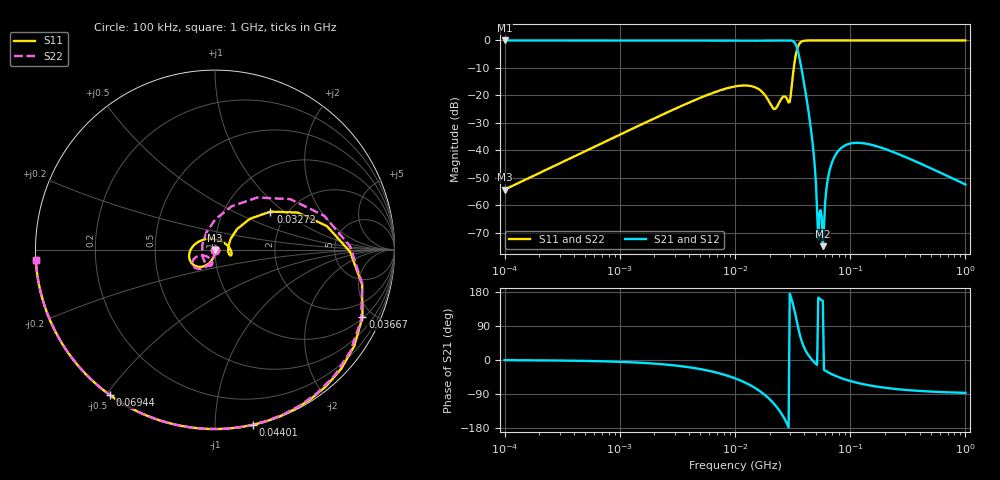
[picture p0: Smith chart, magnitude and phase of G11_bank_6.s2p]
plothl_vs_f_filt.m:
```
#!/usr/bin/octave -q

pkg load signal

# filter bank : f_max, filter_type, order, cutoff_freq [, [stopband_attenuation] [passband ripple]]
#   f_max : the LPF will be used up to this frequency
#   filter_type : 'Butterworth', 'ChebyshevII', 'file' (can be .s2p) 
#   order : filter order
#   cutoff_freq : frequency where the filter response is 3 dB down
#   stopband_attenuation : ChebyshevII only, minimun stopband attenuation
#   passband_ripple : ChebyshevI only, passband ripple
# filters need to be in ascending f_max order
#filters = {
#  {2.5e6, 'Butterworth', 5, 3e6} # 160 m
#  {4.5e6, 'Butterworth', 5, 5.5e6} # 80 m
#  {10e6, 'ChebyshevI', 5, 11e6, 0.5} # 40 m / 60 m
#  {17e6, 'Butterworth', 5, 20e6} # 20 m / 30 m
#  {24e6, 'ChebyshevI', 5, 30e6, 0.5} # 15 m / 17 m
#  {31e6, 'ChebyshevII', 5, 37e6, 20} # 10 m / 12 m
#};

# bank similar to G11 TX LPFs but using ChebyshevII filters
#filters = {
#  {2.5e6, 'ChebyshevII', 5, 2.65e6, 45}
#  {4.7e6, 'ChebyshevII', 5, 5.1e6, 45}
#  {8e6, 'ChebyshevII', 5, 8.8e6, 45}
#  {12e6, 'ChebyshevII', 5, 13.5e6, 45}
#  {19e6, 'ChebyshevII', 5, 22.3e6, 45}
#  {34e6, 'ChebyshevII', 5, 34.5e6, 45}
#};

# bank similar to G11 TX LPFs
filters = {
  {2.5e6, 'Cauer', 5, 2.65e6, 0.1, 45}
  {4.7e6, 'Cauer', 5, 5.1e6, 0.1, 45}
  {8e6, 'Cauer', 5, 8.8e6, 0.1, 45}
  {12e6, 'Cauer', 5, 13.5e6, 0.1, 45}
  {19e6, 'Cauer', 5, 22.3e6, 0.1, 45}
  {34e6, 'Cauer', 5, 34.5e6, 0.1, 45}
};

# G11 TX LPFs bank - simulated filters response
#filters = {
#  {2.5e6, 'file', 'G11_bank_1.txt'}
#  {4.7e6, 'file', 'G11_bank_2.txt'}
#  {8e6, 'file', 'G11_bank_3.txt'}
#  {12e6, 'file', 'G11_bank_4.txt'}
#  {19e6, 'file', 'G11_bank_5.txt'}
#  {34e6, 'file', 'G11_bank_6.s2p'}
#};

# sampling frequency (used to compute spurs location)
global fs = 79.872e6;

# define the HF bands limits - used for annotating the graphs
function plot_HF_bands(Ypos)
  HF_bands = {
    {'160 m', 1.8, 2.0};
    {'80 m', 3.5, 4.0};
    {'60 m', 5.3305, 5.4035};
    {'40 m', 7.0, 7.3};
    {'30 m', 10.1, 10.15};
    {'20 m', 14.0, 14.35};
    {'17 m', 18.068, 18.168};
    {'15 m', 21.0, 21.45};
    {'12 m', 24.89, 24.99};
    {'10 m', 28.0, 29.7}
  };
  hold on;
  for bidx = 1:length(HF_bands)
    bdata = HF_bands{bidx};
    bname = bdata{1};
    bstart = bdata{2}*1e6; # in Hz
    bstop = bdata{3}*1e6; # in Hz
    plot([bstart, bstop], [Ypos, Ypos], 'g', 'LineWidth',4);
    text(0.5*(bstart+bstop), Ypos, [' ' bname], 'horizontalalignment', 'left', 'verticalalignment', 'middle', 'fontsize', 8, 'rotation', 90);
  endfor
  hold off;
endfunction

# draw a limit line at 'level' dB on a graph
function draw_limit_line(level)
  hold on;
  plot(xlim(), [level, level], 'r', 'LineWidth',3);
  hold off;
endfunction

##########
# apply a Butterworth filter
function out = filt_Butterworth(in, frqs, n, f0)
  # ideal Butterworth filter
  # n : order
  # f0 : cutoff frequency
  Amax = 50; # maximum final attenuation
  [b, a] = butter (n, f0 ,'s');
  G_dB = 20*log10(abs(freqs(b, a, frqs)));
  G_dB = merge(G_dB < -Amax, -Amax, G_dB);
  out = in + G_dB;
endfunction

##########
# apply a type I (equiripple in the passband) Chebyshev filter
function out = filt_ChebyshevI(in, frqs, n, f0, rp)
  # ideal (type I) Chebyshev filter
  # n : order
  # f0 : cutoff frequency
  # rp : passband ripple
  
  Amax = 50; # maximum final attenuation  
  
  # compute epsilon from the passband ripple
  ep = sqrt(10^(rp/10)-1);
  # compute the the ripple cutoff frequency from the 3 dB cutoff frequency
  f0 = f0 / cosh(acosh(1/ep)/n);    
  [b, a] = cheby1(n, rp, f0, 's');
  
  G_dB = 20*log10(abs(freqs(b, a, frqs)));
  G_dB = merge(G_dB < -Amax, -Amax, G_dB);
  out = in + G_dB;
endfunction

##########
# apply a type II (equiripple in the stopband) Chebyshev filter
function out = filt_ChebyshevII(in, frqs, n, f0, Rs)
  # ideal inverse (type II) Chebyshev filter
  # n : order
  # f0 : cutoff frequency
  # Rs : stopband attenuation
  
  Amax = 50; # maximum final attenuation  
  # compute epsilon from the stopband attenuation
  es = 1 / sqrt(10^(Rs/10)-1);
  # compute the the stopband cutoff frequency from the 3 dB cutoff frequency
  f0 = f0 * cosh(acosh(1/es)/n);
  [b, a] = cheby2(n, Rs, f0, 's');
  
  G_dB = 20*log10(abs(freqs(b, a, frqs)));
  G_dB = merge(G_dB < -Amax, -Amax, G_dB);
  out = in + G_dB;
endfunction

##########
# Cauer filter helper functions
function val = ellipFint(phipsi, m)
  # incomplete elliptic integral of the first kind
  #   computed by integration
  # phi : amplitude (can be complex)
  # m : the parameter (= k^2)
  f = @(x) 1./sqrt(1-m*sin(x).^2);
  val = quadgk(f, 0, phipsi, "Waypoints", asin(1/sqrt(m)));
endfunction

function val = sn(u, m)
  # Jacobian elliptic sine
  [val, cn, dn, err] = ellipj (u, m);
endfunction

function val = KoverKp(k)
  # k : elliptic modulus (= sqrt(m))
  # approximation of K(k)/K'(k)
  if (k < 1/sqrt(2))
    kp = sqrt (1 - k * k);
    val = 2 * pi / (log(2) + acosh(((1 + sqrt(kp))/(1 - sqrt(kp)))^2));
  else
    val = (log(2) + acosh(((1 + sqrt(k))/(1 - sqrt(k)))^2)) / (2 * pi);
  endif
 endfunction
 
function ws = ws(n, rp, Rs, wp)
   # compute ws so that (X2/X'2 = N X1 / X'1)
   # compute epsilon from the passband ripple
   ep = sqrt(10^(rp/10)-1);
   # compute epsilon from the stopband attenuation
   es = 1 / sqrt(10^(Rs/10)-1);
   
   rhs = n * KoverKp(ep * es);
   [ws, fval, info, output] = fzero(@(x) KoverKp(wp / x) - rhs, [wp*(1+eps), 10*wp]);
 endfunction
 
function wc = wc(n, rp, Rs, wp)
   # compute epsilon from the passband ripple
   ep = sqrt(10^(rp/10)-1);
   # compute epsilon from the stopband attenuation
   es = 1 / sqrt(10^(Rs/10)-1);
   
   X1 = ellipke((ep*es)^2);
   ws = ws(n, rp, Rs, wp);
   X2 = ellipke((wp / ws)^2);
   
   sni = ellipFint(asin(1 / ep), (ep*es)^2);
   q = rem(n+1, 2);
   wc = wp * sn(X2 + j*imag(X2 *(sni-q*X1) / (n*X1)), (wp / ws)^2);
   wc = real(wc);
 endfunction

# apply a Cauer (elliptic) filter
function out = filt_Cauer(in, frqs, n, f0, rp, Rs)
  # ideal Cauer filter
  # n : order
  # f0 : cutoff frequency
  # rp : passband ripple
  # Rs : stopband attenuation
  
  Amax = 50; # maximum final attenuation  
  
  # compute the ripple cutoff frequency from the 3 dB cutoff frequency
  wcc = wc(n, rp, Rs, 1);
  f0 = f0 / wcc;
  [b, a] = ellip (n, rp, Rs, f0, 's');
  
  G_dB = 20*log10(abs(freqs(b, a, frqs)));
  G_dB = merge(G_dB < -Amax, -Amax, G_dB);
  out = in + G_dB;
endfunction


# apply a filter function from file
#   if file ends in .s2p it's read as a Touchstone file
#   (only S21 will be used)
#   otherwise it is assumed to contain two data columns
#   containg the frequency and the filter response in dB
function out = filt_file(in, freqs, fname)
  Amax = 50; # maximum final attenuation  
  [dir, name, fext] = fileparts(fname);
  if strcmp(fext, '.s2p')
   [ff, fr] = SXPParse(fname, '/dev/null'); # suppress output text
   ff = ff';
   fr = squeeze(fr(2,1,:)); # extract S21
   fr = 20 *log10(abs(fr)); # in dB
  else
    fdata = load(fname);
    ff = fdata(:,1);
    fr = fdata(:,2);
  endif
  
  G_dB = interp1 (ff, fr, freqs, 'spline');
  G_dB = merge(G_dB < -Amax, -Amax, G_dB);
  out = in + G_dB;
endfunction

# filter the TX spectrum using the provided filter bank
#  (should be optimized, as filters are created anew for every filtering operation and not reused)
function ftxdata = LPF(txdata, filters)
  global fs;
  idxmin = 1;
  for fidx = 1:length(filters)
    idxmax = lookup(txdata(:,1), filters{fidx}{1});
  
    switch (filters{fidx}{2})
      case "Butterworth"
        BW = @(in, f) filt_Butterworth(in, f, filters{fidx}{3}, filters{fidx}{4});
      case "ChebyshevI"
        BW = @(in, f) filt_ChebyshevI(in, f, filters{fidx}{3}, filters{fidx}{4}, filters{fidx}{5});
      case "ChebyshevII"
        BW = @(in, f) filt_ChebyshevII(in, f, filters{fidx}{3}, filters{fidx}{4}, filters{fidx}{5});
      case "Cauer"
        BW = @(in, f) filt_Cauer(in, f, filters{fidx}{3}, filters{fidx}{4}, filters{fidx}{5}, filters{fidx}{6});
      case "file"
        BW = @(in, f) filt_file(in, f, filters{fidx}{3});
    endswitch
  
    ftxdata(idxmin:idxmax,1) = txdata(idxmin:idxmax,1); # TX frequency
    frqs = txdata(idxmin:idxmax,1); # TX frequency
    ftxdata(idxmin:idxmax,2) = BW(txdata(idxmin:idxmax,2), frqs);
    ftxdata(idxmin:idxmax,3) = BW(txdata(idxmin:idxmax,3), 2*frqs);
    ftxdata(idxmin:idxmax,4) = BW(txdata(idxmin:idxmax,4), 3*frqs);
    ftxdata(idxmin:idxmax,5) = BW(txdata(idxmin:idxmax,5), 4*frqs);
    ftxdata(idxmin:idxmax,6) = BW(txdata(idxmin:idxmax,6), 5*frqs);

    ftxdata(idxmin:idxmax,7) = BW(txdata(idxmin:idxmax,7), fs-frqs);
    ftxdata(idxmin:idxmax,8) = BW(txdata(idxmin:idxmax,8), fs+frqs);

    ftxdata(idxmin:idxmax,9) = BW(txdata(idxmin:idxmax,9), 2*fs-5*frqs);
    ftxdata(idxmin:idxmax,10) = BW(txdata(idxmin:idxmax,10), 2*fs-4*frqs);
    ftxdata(idxmin:idxmax,11) = BW(txdata(idxmin:idxmax,11), 2*fs-3*frqs);
    ftxdata(idxmin:idxmax,12) = BW(txdata(idxmin:idxmax,12), 2*fs-2*frqs);
    ftxdata(idxmin:idxmax,13) = BW(txdata(idxmin:idxmax,13), 2*fs-frqs);

    ftxdata(idxmin:idxmax,14) = BW(txdata(idxmin:idxmax,14), 2*fs);

    ftxdata(idxmin:idxmax,15) = BW(txdata(idxmin:idxmax,9), 2*fs+frqs);
    ftxdata(idxmin:idxmax,16) = BW(txdata(idxmin:idxmax,10), 2*fs+2*frqs);
    ftxdata(idxmin:idxmax,17) = BW(txdata(idxmin:idxmax,11), 2*fs+3*frqs);
    ftxdata(idxmin:idxmax,18) = BW(txdata(idxmin:idxmax,12), 2*fs+4*frqs);
    ftxdata(idxmin:idxmax,19) = BW(txdata(idxmin:idxmax,13), 2*fs+5*frqs);
    idxmin = idxmax + 1;
  endfor
endfunction

########################################

graphics_toolkit("gnuplot")

# output graphs basename
datafile = argv(){1};
[pathstr, fbasename, ext] = fileparts(datafile);

# load curve with Pout around 37 dBm (5W)
txdata = load(datafile);
# data format is:
#   spot_level
#   f_{tx}, 2*f_{tx}, 3*f_{tx}, 4*f_{tx}, 5*f_{tx},
#   f_s-f_{tx}, f_s+f_{tx},
#   2*f_s-5*f_{tx}, 2*f_s-4*f_{tx}, 2*f_s-3*f_{tx}, 2*f_s-2*f_{tx}, 2*f_s-f_{tx},
#   2*f_s,
#   2*f_s+f_{tx}, 2*f_s+2*f_{tx}, 2*f_s+3*f_{tx}, 2*f_s+4*f_{tx}, 2*f_s+5*f_{tx}]

# apply LPF bank to the TX signal
ftxdata = LPF(txdata, filters);
frqs = txdata(:,1); # TX frequency

fidx = 1; # figures index

# plot relative output power values (dBc) with limit line
figure(fidx++)
plot(frqs, ftxdata(:,3:6)-ftxdata(:,2));
draw_limit_line(-50);
yr = ylim();
plot_HF_bands(yr(1)+0.02*(yr(2)-yr(1))); # place band markers slightly above x axis
grid on;
#ylim([-70 -30]);
xlim([0 31e6]);
#set(gca, 'ytick', [-90:10:10]);
xlabel("TX frequency, Hz");
ylabel('Pout, dBc');
legend('2f_{tx}', '3f_{tx}', '4f_{tx}', '5f_{tx}', 'location', 'southwest');
legend("boxoff");
legend ("location", "northeast")
title('Harmonics');
print([fbasename '_harmonics_vs_frequency_LPF_dBc.png'], '-dpng', '-F:12');

# plot fundamental output power (dBm)
figure(fidx++)
plot(frqs, ftxdata(:,2), 'b;after LPF bank;'); # filtered output
hold on;
plot(frqs, txdata(:,2), 'r--;PA output;'); # unfiltered output
yr = ylim();
plot_HF_bands(yr(1)+0.02*(yr(2)-yr(1))); # place band markers slightly above x axis
grid on;
#ylim([-90 15]);
xlim([0 31e6]);
#set(gca, 'ytick', [-90:10:10]); 
xlabel("TX frequency, Hz");
ylabel('Pout, dBm');
legend('location', 'northwest');
legend("boxoff");
title('Fundamental output power');
print([fbasename '_fundamental_vs_frequency_LPF.png'], '-dpng', '-F:12');

##########
# plot absolute output power values (dBm)
figure(fidx++)
plot(frqs, ftxdata(:,2:6));
yr = ylim();
plot_HF_bands(yr(1)+0.02*(yr(2)-yr(1))); # place band markers slightly above x axis
grid on;
#ylim([-90 15]);
xlim([0 31e6]);
#set(gca, 'ytick', [-90:10:10]); 
xlabel("TX frequency, Hz");
ylabel('Pout, dBm');
legend('f_{tx}', '2f_{tx}', '3f_{tx}', '4f_{tx}', '5f_{tx}', 'location', 'northwest');
legend("boxoff");
title('Harmonics after LPF');
#print([fbasename '_harmonics_vs_frequency.png'], '-dpng', '-F:12');

figure(fidx++)
plot(frqs, ftxdata(:,7:8));
yr = ylim();
plot_HF_bands(yr(1)+0.02*(yr(2)-yr(1))); # place band markers slightly above x axis
grid on;
#ylim([-90 15]);
xlim([0 31e6]);
#set(gca, 'ytick', [-90:10:10]); 
xlabel("TX frequency, Hz");
ylabel('Pout, dBm');
legend('f_s-f_{tx}', 'f_s+f_{tx}', 'location', 'northwest');
legend("boxoff");
title('Images around f_s');
#print([fbasename '_images_fs_vs_frequency.png'], '-dpng', '-F:12');

figure(fidx++)
plot(frqs, ftxdata(:,9:14));
yr = ylim();
plot_HF_bands(yr(1)+0.02*(yr(2)-yr(1))); # place band markers slightly above x axis
grid on;
#ylim([-90 15]);
xlim([0 31e6]);
#set(gca, 'ytick', [-90:10:10]); 
xlabel("TX frequency, Hz");
ylabel('Pout, dBm');
legend('2f_s-5f_{tx}', '2f_s-4f_{tx}', '2f_s-3f_{tx}', '2f_s-2f_{tx}', '2f_s-f_{tx}', '2f_s', 'location', 'northwest');
legend("boxoff");
title('Images below 2f_s');
#print([fbasename '_images_2fs_low_vs_frequency.png'], '-dpng', '-F:12');

figure(fidx++)
plot(frqs, ftxdata(:,14:19));
yr = ylim();
plot_HF_bands(yr(1)+0.02*(yr(2)-yr(1))); # place band markers slightly above x axis
grid on;
#ylim([-90 15]);
xlim([0 31e6]);
#set(gca, 'ytick', [-90:10:10]); 
xlabel("TX frequency, Hz");
ylabel('Pout, dBm');
legend('2f_s', '2f_s+f_{tx}', '2f_s+2f_{tx}', '2f_s+3f_{tx}', '2f_s+4f_{tx}', '2f_s+5f_{tx}', 'location', 'northwest')
legend("boxoff");
title('Images above 2f_s');
#print([fbasename '_images_2fs_high_vs_frequency.png'], '-dpng', '-F:12');

##########
# plot relative output power values (dBc)
figure(fidx++)
plot(frqs, ftxdata(:,3:6)-ftxdata(:,2));
yr = ylim();
plot_HF_bands(yr(1)+0.02*(yr(2)-yr(1))); # place band markers slightly above x axis
grid on;
#ylim([-70 -30]);
xlim([0 31e6]);
#set(gca, 'ytick', [-90:10:10]);
xlabel("TX frequency, Hz");
ylabel('Pout, dBc');
legend('2f_{tx}', '3f_{tx}', '4f_{tx}', '5f_{tx}', 'location', 'southwest');
legend("boxoff");
legend ("location", "northeast")
title('Harmonics');
#print([fbasename '_harmonics_vs_frequency_dBc.png'], '-dpng', '-F:12');

figure(fidx++)
plot(frqs, ftxdata(:,7:8)-ftxdata(:,2));
yr = ylim();
plot_HF_bands(yr(1)+0.02*(yr(2)-yr(1))); # place band markers slightly above x axis
grid on;
#ylim([-60 -40]);
xlim([0 31e6]);
#set(gca, 'ytick', [-90:10:10]); 
xlabel("TX frequency, Hz");
ylabel('Pout, dBc');
legend('f_s-f_{tx}', 'f_s+f_{tx}', 'location', 'northwest');
legend("boxoff");
title('Images around f_s');
#print([fbasename '_images_fs_vs_frequency_dBc.png'], '-dpng', '-F:12');

figure(fidx++)
plot(frqs, ftxdata(:,9:14)-ftxdata(:,2));
yr = ylim();
plot_HF_bands(yr(1)+0.02*(yr(2)-yr(1))); # place band markers slightly above x axis
grid on;
#ylim([-90 0]);
xlim([0 31e6]);
#set(gca, 'ytick', [-90:10:10]); 
xlabel("TX frequency, Hz");
ylabel('Pout, dBc');
legend('2f_s-5f_{tx}', '2f_s-4f_{tx}', '2f_s-3f_{tx}', '2f_s-2f_{tx}', '2f_s-f_{tx}', '2f_s', 'location', 'southwest');
legend("boxoff");
title('Images below 2f_s');
#print([fbasename '_images_2fs_low_vs_frequency_dBc.png'], '-dpng', '-F:12');

figure(fidx++)
plot(frqs, ftxdata(:,14:19)-ftxdata(:,2));
yr = ylim();
plot_HF_bands(yr(1));
grid on;
#ylim([-90 0]);
xlim([0 31e6]);
#set(gca, 'ytick', [-90:10:10]); 
xlabel("TX frequency, Hz");
ylabel('Pout, dBc');
legend('2f_s', '2f_s+f_{tx}', '2f_s+2f_{tx}', '2f_s+3f_{tx}', '2f_s+4f_{tx}', '2f_s+5f_{tx}', 'location', 'southwest')
legend("boxoff");
title('Images above 2f_s');
#print([fbasename '_images_2fs_high_vs_frequency_dBc.png'], '-dpng', '-F:12');
```
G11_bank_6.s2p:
# HZ S RI R 50
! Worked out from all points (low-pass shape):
!   405 points, 100 kHz to 1 GHz, reference 50 ohm
!   highest |S21| = 0.00 dB at 100 kHz (marker M1); lowest = -74.9 dB at 57.86 MHz (marker M2)
!   |S21| within 3 dB of the highest: start of sweep to 34.67 MHz
!   lowest |S11| = -54.3 dB at 100 kHz (marker M3), VSWR 1.00, Z = 50 - j0.194 ohm
!   |S11| at or under -10 dB: start of sweep to 32.39 MHz
!   |S22| runs from -54.3 to 0.0 dB; largest |S21 - S12| = 5.7e-16
!   S11 on the Smith chart (normalised r, x): 100 kHz: 1.00, -0.00; 32.72 MHz: 1.64, +0.81; 36.67 MHz: 1.05, -4.33; 44.01 MHz: 0.00, -1.24; 69.44 MHz: 0.00, -0.51; 1 GHz: 0.00, -0.03
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100000  -1.75e-05 -0.00194  1 -0.00837  1 -0.00837  -1.49e-05 -0.00194
1e7  -0.1168 -0.087  0.6577 -0.7391  0.6577 -0.7391  -0.1 -0.1059
2.170869e7  0.00746 0.0564  -0.4204 -0.9055  -0.4204 -0.9055  -0.0383 -0.0421
3.272288e7  0.3084 0.2117  -0.6287 0.6818  -0.6287 0.6818  0.236 0.2903
3.667384e7  0.8215 -0.377  0.1823 0.387  0.1823 0.387  0.8138 -0.3933
4.401132e7  0.212 -0.9763  0.0419 0.00729  0.0419 0.00729  0.1304 -0.9905
5.162633e7  -0.1832 -0.9831  0.000746 -0.000171  0.000746 -0.000171  -0.2631 -0.9648
5.785971e7  -0.3748 -0.9271  -0.000165 7.4e-05  -0.000165 7.4e-05  -0.444 -0.896
6.943591e7  -0.5852 -0.8108  0.00474 -0.00366  0.00474 -0.00366  -0.6364 -0.7714
1.344971e8  -0.8971 -0.4417  0.00569 -0.0121  0.00569 -0.0121  -0.9114 -0.4113
1e9  -0.9982 -0.0602  0.000139 -0.0024  0.000139 -0.0024  -0.9984 -0.0557
